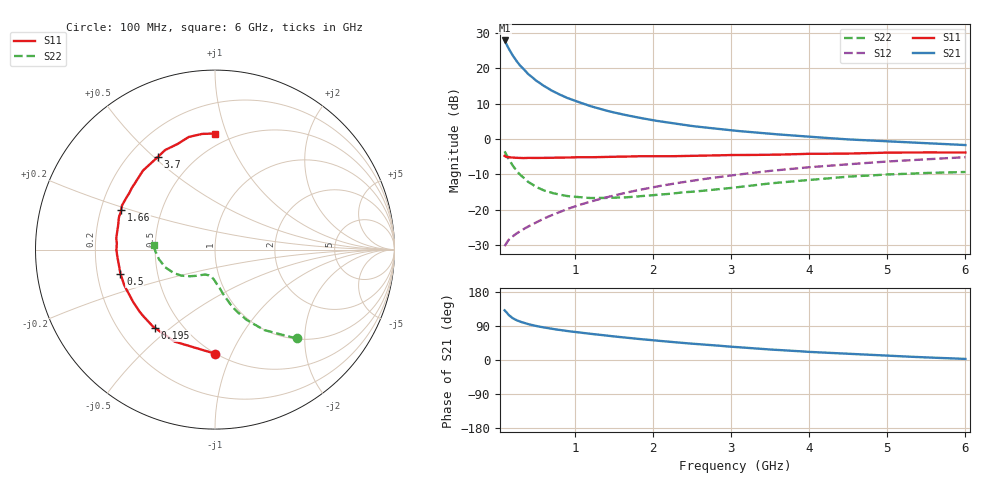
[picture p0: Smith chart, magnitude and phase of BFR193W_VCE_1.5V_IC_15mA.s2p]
! Infineon Technologies  Discrete & RF Semiconductors
! BFR193W
! VCE =  1.5 V,  IC =  15 mA
! Common Emitter S-Parameters:  Nov 2015
# GHz  S  MA  R  50
!  f  S11  S21  S12  S22
! GHz  MAG  ANG  MAG  ANG  MAG  ANG  MAG  ANG
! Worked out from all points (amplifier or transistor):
!   192 points, 100 MHz to 6 GHz, reference 50 ohm
!   highest |S21| = 27.9 dB at 100 MHz (marker M1)
!   |S21| within 3 dB of that: start of sweep to 171.4 MHz
!   unconditionally stable (mu >= 1): 812.3 MHz to 2.608 GHz
!   at 440 MHz: K = 0.84, MSG = 21.0 dB, |S12| = -24.3 dB
!   at 1.7 GHz: K = 1.04, MAG = 9.6 dB, |S12| = -14.9 dB
!   at 6 GHz: K = 0.92, MSG = 1.7 dB, |S12| = -5.1 dB
!   S11 on the Smith chart (normalised r, x): 100 MHz: 0.50, -0.87; 195 MHz: 0.35, -0.44; 500 MHz: 0.30, -0.12; 1.66 GHz: 0.29, +0.18; 3.7 GHz: 0.32, +0.52; 6 GHz: 0.41, +0.91
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0.1  0.5802 -89.9  24.77 131.1  0.0307 56.8  0.6726 -47.4
0.15  0.5598 -113.8  19.19 118.9  0.0375 52.1  0.5261 -58.5
0.195  0.5496 -127.5  15.79 111.7  0.0415 50.8  0.4384 -64.9
0.2  0.5504 -129.0  15.43 110.7  0.0419 50.7  0.4291 -65.8
0.24  0.545 -137.3  13.3 106.4  0.0454 51.0  0.3727 -69.9
0.26  0.5439 -140.9  12.4 104.3  0.047 51.4  0.3497 -71.7
0.3  0.5414 -147.2  10.89 100.8  0.05 52.3  0.3128 -74.5
0.4  0.5432 -158.4  8.332 94.5  0.058 54.9  0.2495 -79.8
0.5  0.5436 -165.6  6.75 89.8  0.066 57.6  0.212 -83.6
0.6  0.5425 -171.3  5.668 85.9  0.0751 59.6  0.1891 -87.5
0.7  0.5459 -176.0  4.866 82.4  0.0838 61.2  0.1742 -90.1
0.9  0.548 176.4  3.825 76.5  0.1026 63.3  0.1567 -95.2
1.1  0.5532 170.6  3.194 71.6  0.1213 64.2  0.1498 -100.1
1.4  0.5624 162.8  2.53 64.5  0.1501 64.5  0.1475 -107.0
1.66  0.5669 157.3  2.179 58.9  0.1754 64.0  0.1505 -112.3
2.08  0.5722 148.6  1.79 50.6  0.2167 62.4  0.1639 -119.5
2.5  0.5788 140.8  1.531 43.0  0.258 60.0  0.1798 -125.7
3.1  0.5959 130.9  1.299 33.7  0.3161 55.6  0.2102 -135.3
3.7  0.607 121.5  1.144 25.3  0.3731 50.6  0.2473 -145.7
4.1  0.6204 115.2  1.061 20.4  0.4083 47.2  0.2703 -152.8
5.1  0.6446 101.7  0.922 10.4  0.4896 38.5  0.3192 -171.9
6  0.6467 89.9  0.824 2.8  0.5552 30.3  0.3432 175.9
